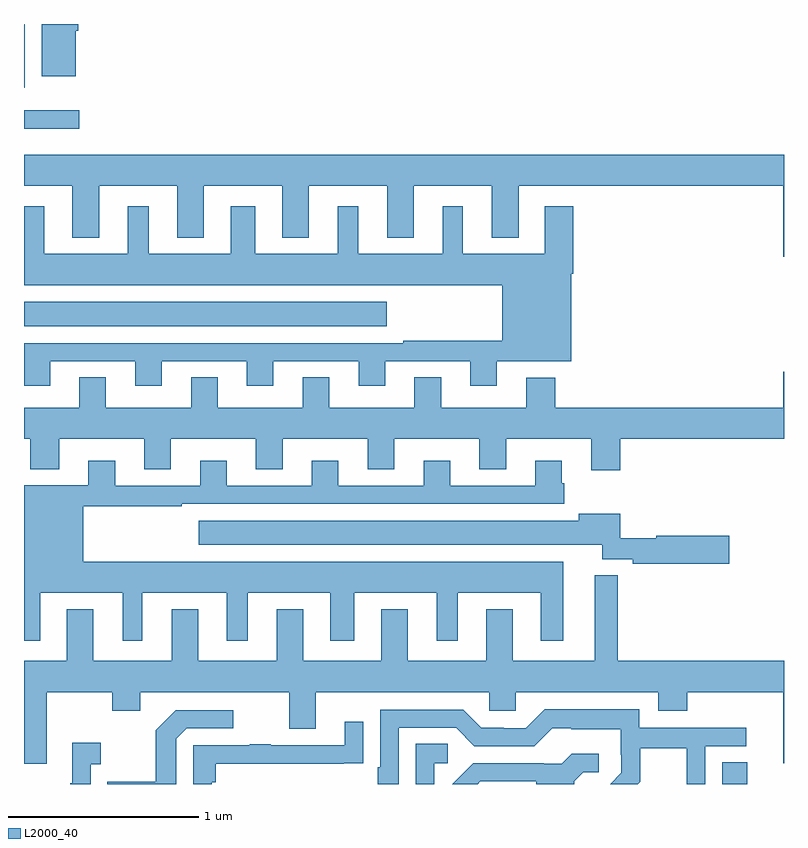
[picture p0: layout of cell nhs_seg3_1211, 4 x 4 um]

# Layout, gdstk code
import gdstk
lib = gdstk.Library(unit=1e-6, precision=1e-09)
def R(c, l, rs):  # rectangles x0, y0, x1, y1
    for r in rs: c.add(gdstk.rectangle(r[:2], r[2:], *l))
def P(c, l, *ps):  # polygons
    for p in ps: c.add(gdstk.Polygon(p, *l))
L2000_40 = (2000, 40)

nhs_seg3_1211 = lib.new_cell('nhs_seg3_1211')
R(nhs_seg3_1211, L2000_40, [(176.675,732.4,176.806,732.515), (173,734.81,174.91,734.938), (173,735.848,173.29,735.945), (173,736.065,173.005,736.4)])
P(nhs_seg3_1211, L2000_40, [(173.272,736.364),(173.285,736.364),(173.285,736.4),(173.093,736.4),(173.093,736.124),(173.272,736.124)],
  [(177,735.712),(173,735.712),(173,735.548),(173.255,735.548),(173.255,735.275),(173.395,735.275),(173.395,735.548),(173.807,735.548),(173.807,735.275),(173.947,735.275),(173.947,735.548),(174.359,735.548),(174.359,735.275),(174.499,735.275),(174.499,735.548),(174.911,735.548),(174.911,735.275),(175.051,735.275),(175.051,735.548),(175.463,735.548),(175.463,735.275),(175.603,735.275),(175.603,735.548),(176.996,735.548),(176.996,735.174),(177,735.174)],
  [(173.137,734.625),(173.585,734.625),(173.585,734.496),(173.725,734.496),(173.725,734.625),(174.173,734.625),(174.173,734.496),(174.313,734.496),(174.313,734.625),(174.761,734.625),(174.761,734.496),(174.901,734.496),(174.901,734.625),(175.349,734.625),(175.349,734.496),(175.489,734.496),(175.489,734.624),(175.879,734.624),(175.879,735.086),(175.892,735.086),(175.892,735.442),(175.742,735.442),(175.742,735.19),(175.309,735.19),(175.309,735.442),(175.205,735.442),(175.205,735.19),(174.76,735.19),(174.76,735.442),(174.65,735.442),(174.65,735.19),(174.217,735.19),(174.217,735.442),(174.089,735.442),(174.089,735.19),(173.656,735.19),(173.656,735.442),(173.546,735.442),(173.546,735.19),(173.107,735.19),(173.107,735.442),(173,735.442),(173,735.026),(175.517,735.026),(175.517,734.734),(174.997,734.734),(174.997,734.721),(173,734.721),(173,734.496),(173.137,734.496)],
  [(176.138,734.216),(177,734.216),(177,734.569),(176.996,734.569),(176.996,734.38),(175.796,734.38),(175.796,734.539),(175.643,734.539),(175.643,734.38),(175.195,734.38),(175.195,734.54),(175.055,734.54),(175.055,734.38),(174.607,734.38),(174.607,734.54),(174.467,734.54),(174.467,734.38),(174.019,734.38),(174.019,734.54),(173.879,734.54),(173.879,734.38),(173.431,734.38),(173.431,734.54),(173.291,734.54),(173.291,734.38),(173,734.38),(173,734.216),(173.033,734.216),(173.033,734.057),(173.185,734.057),(173.185,734.216),(173.633,734.216),(173.633,734.056),(173.773,734.056),(173.773,734.216),(174.221,734.216),(174.221,734.056),(174.361,734.056),(174.361,734.216),(174.809,734.216),(174.809,734.056),(174.949,734.056),(174.949,734.216),(175.397,734.216),(175.397,734.056),(175.537,734.056),(175.537,734.216),(175.985,734.216),(175.985,734.052),(176.138,734.052)],
  [(173.086,733.406),(173.519,733.406),(173.519,733.155),(173.623,733.155),(173.623,733.406),(174.068,733.406),(174.068,733.155),(174.178,733.155),(174.178,733.406),(174.611,733.406),(174.611,733.155),(174.739,733.155),(174.739,733.406),(175.172,733.406),(175.172,733.155),(175.282,733.155),(175.282,733.406),(175.721,733.406),(175.721,733.155),(175.837,733.155),(175.837,733.57),(173.311,733.57),(173.311,733.863),(173.831,733.863),(173.831,733.875),(175.844,733.875),(175.844,733.983),(175.831,733.983),(175.831,734.101),(175.691,734.101),(175.691,733.971),(175.243,733.971),(175.243,734.101),(175.103,734.101),(175.103,733.971),(174.655,733.971),(174.655,734.101),(174.515,734.101),(174.515,733.971),(174.067,733.971),(174.067,734.101),(173.927,734.101),(173.927,733.971),(173.479,733.971),(173.479,734.101),(173.339,734.101),(173.339,733.972),(173,733.972),(173,733.155),(173.086,733.155)],
  [(176.713,733.706),(176.328,733.706),(176.328,733.693),(176.139,733.693),(176.139,733.822),(175.919,733.822),(175.919,733.786),(173.919,733.786),(173.919,733.658),(176.043,733.658),(176.043,733.584),(176.203,733.584),(176.203,733.559),(176.713,733.559)],
  [(173.119,732.884),(173.464,732.884),(173.464,732.785),(173.611,732.785),(173.611,732.884),(174.395,732.884),(174.395,732.69),(174.535,732.69),(174.535,732.884),(175.449,732.884),(175.449,732.786),(175.587,732.786),(175.587,732.884),(176.339,732.884),(176.339,732.785),(176.492,732.785),(176.492,732.884),(176.996,732.884),(176.996,732.51),(177,732.51),(177,733.048),(176.125,733.048),(176.125,733.498),(176.003,733.498),(176.003,733.048),(175.573,733.048),(175.573,733.321),(175.433,733.321),(175.433,733.048),(175.021,733.048),(175.021,733.321),(174.881,733.321),(174.881,733.048),(174.469,733.048),(174.469,733.321),(174.329,733.321),(174.329,733.048),(173.917,733.048),(173.917,733.321),(173.777,733.321),(173.777,733.048),(173.365,733.048),(173.365,733.321),(173.225,733.321),(173.225,733.048),(173,733.048),(173,732.507),(173.119,732.507)],
  [(174.972,732.696),(175.275,732.696),(175.371,732.6),(175.686,732.6),(175.779,732.693),(175.879,732.693),(175.879,732.689),(176.142,732.689),(176.142,732.555),(176.144,732.555),(176.144,732.458),(176.086,732.4),(176.23,732.4),(176.243,732.413),(176.243,732.588),(176.488,732.588),(176.488,732.4),(176.586,732.4),(176.586,732.6),(176.8,732.6),(176.8,732.696),(176.238,732.696),(176.238,732.793),(175.741,732.793),(175.641,732.693),(175.526,732.693),(175.526,732.696),(175.407,732.696),(175.311,732.792),(174.876,732.792),(174.876,732.487),(174.863,732.487),(174.863,732.4),(174.972,732.4)],
  [(173.802,732.639),(173.856,732.693),(174.1,732.693),(174.1,732.789),(173.799,732.789),(173.694,732.683),(173.694,732.411),(173.437,732.411),(173.437,732.4),(173.802,732.4)],
  [(173.988,732.41),(174.008,732.41),(174.008,732.507),(174.683,732.507),(174.683,732.508),(174.785,732.508),(174.785,732.727),(174.689,732.727),(174.689,732.603),(174.299,732.603),(174.299,732.608),(174.187,732.608),(174.187,732.603),(173.892,732.603),(173.892,732.4),(173.988,732.4)],
  [(173.352,732.503),(173.404,732.503),(173.404,732.616),(173.255,732.616),(173.255,732.403),(173.244,732.403),(173.244,732.4),(173.352,732.4)],
  [(175.158,732.51),(175.231,732.51),(175.231,732.611),(175.062,732.611),(175.062,732.4),(175.158,732.4)],
  [(175.402,732.414),(175.697,732.414),(175.697,732.4),(175.897,732.4),(175.897,732.415),(175.944,732.462),(176.026,732.462),(176.026,732.559),(175.882,732.559),(175.83,732.507),(175.736,732.507),(175.736,732.51),(175.364,732.51),(175.254,732.4),(175.388,732.4)])

lib.write_gds('nhs_seg3_1211.gds')
